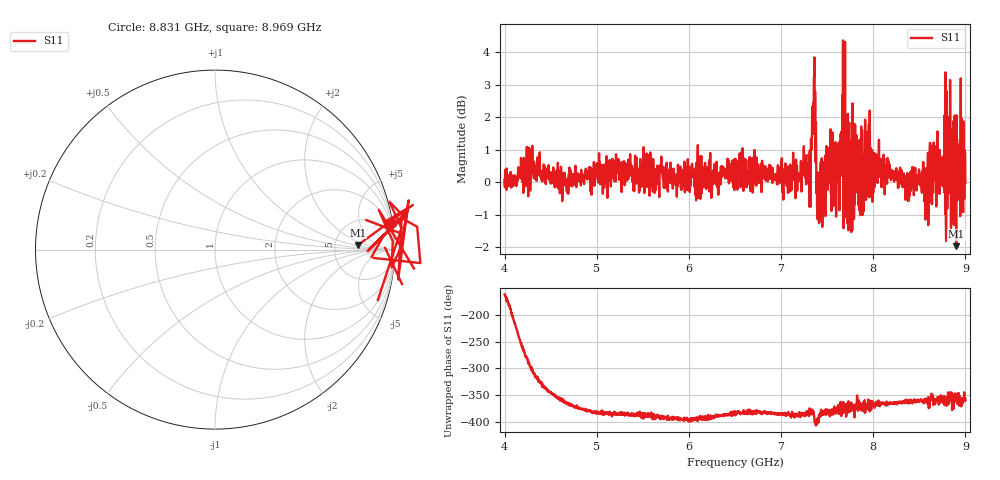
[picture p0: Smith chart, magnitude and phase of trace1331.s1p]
! Created with skrf 1.8.0 (http://scikit-rf.org).
# Hz S RI R 50.0
!freq ReS11 ImS11
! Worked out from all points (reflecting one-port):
!   1601 points, 4 GHz to 9 GHz, reference 50 ohm
!   lowest |S11| = -2.0 dB at 8.9 GHz (marker M1), VSWR 8.86, Z = 434 + j61.1 ohm
!   phase of S11 starts at -163 deg and turns -194 deg over the sweep
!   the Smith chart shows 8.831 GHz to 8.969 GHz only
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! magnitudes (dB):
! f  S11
! 4 GHz  0.1
! 4.284 GHz  0.4
! 4.625 GHz  -0.6
! 5.25 GHz  0.3
! 5.875 GHz  0.2
! 6.5 GHz  0.7
! 7.125 GHz  0.3
! 7.294 GHz  0.2
! 7.353 GHz  1.5
! 7.409 GHz  -0.7
! 7.512 GHz  0.6
! 7.619 GHz  0.7
! 7.672 GHz  4.4
! 7.75 GHz  -1.2
! 7.769 GHz  -0.7
! 7.8 GHz  -0.7
! 7.928 GHz  1.5
! 7.997 GHz  0.1
! 8.375 GHz  -0.1
! 8.438 GHz  0.3
! 8.584 GHz  0.1
! 8.638 GHz  -0.7
! 8.766 GHz  0.7
! 8.809 GHz  2.0
! 8.856 GHz  -0.4
! 8.9 GHz  -2.0
! 8.972 GHz  0.0
! 9 GHz  0.0
